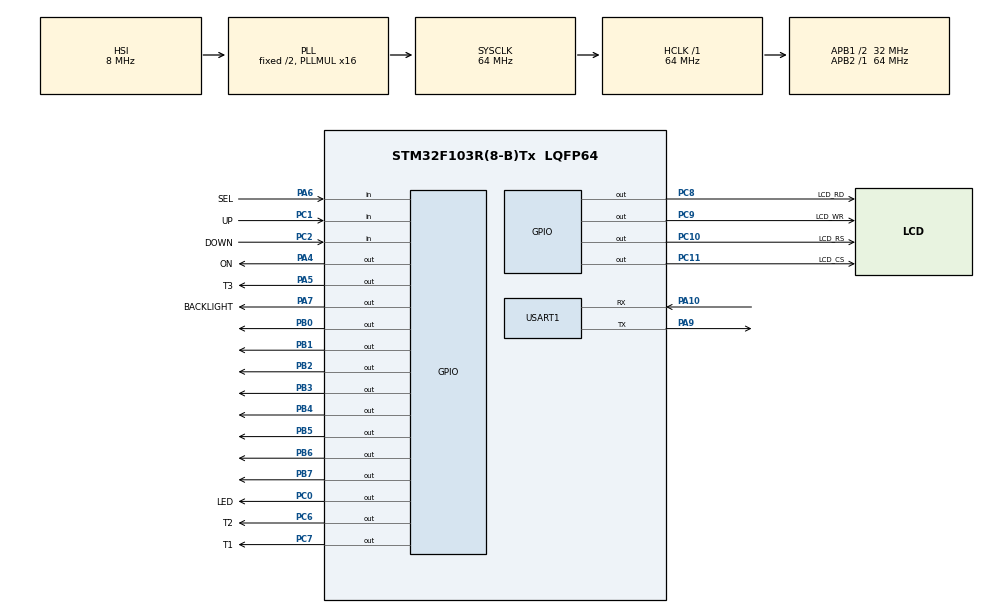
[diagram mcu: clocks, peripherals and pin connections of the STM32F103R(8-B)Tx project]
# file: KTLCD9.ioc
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Mcu.Family=STM32F1
Mcu.Name=STM32F103R(8-B)Tx
Mcu.Package=LQFP64
NVIC.PriorityGroup=NVIC_PRIORITYGROUP_4
PA10.Mode=Asynchronous
PA10.Signal=USART1_RX
PA13.Mode=Serial_Wire
PA13.Signal=SYS_JTMS-SWDIO
PA14.Mode=Serial_Wire
PA14.Signal=SYS_JTCK-SWCLK
PA4.GPIO_Label=ON
PA4.Signal=GPIO_Output
PA5.GPIO_Label=T3
PA5.Signal=GPIO_Output
PA6.GPIO_Label=SEL
PA6.Signal=GPIO_Input
PA7.GPIO_Label=BACKLIGHT
PA7.Signal=GPIO_Output
PA9.Mode=Asynchronous
PA9.Signal=USART1_TX
PB0.GPIO_Speed=GPIO_SPEED_FREQ_HIGH
PB0.Signal=GPIO_Output
PB1.GPIO_Speed=GPIO_SPEED_FREQ_HIGH
PB1.Signal=GPIO_Output
PB2.GPIO_Speed=GPIO_SPEED_FREQ_HIGH
PB2.Signal=GPIO_Output
PB3.GPIO_Speed=GPIO_SPEED_FREQ_HIGH
PB3.Signal=GPIO_Output
PB4.GPIO_Speed=GPIO_SPEED_FREQ_HIGH
PB4.Signal=GPIO_Output
PB5.GPIO_Speed=GPIO_SPEED_FREQ_HIGH
PB5.Signal=GPIO_Output
PB6.GPIO_Speed=GPIO_SPEED_FREQ_HIGH
PB6.Signal=GPIO_Output
PB7.GPIO_Speed=GPIO_SPEED_FREQ_HIGH
PB7.Signal=GPIO_Output
PC0.GPIO_Label=LED
PC0.Signal=GPIO_Output
PC1.GPIO_Label=UP
PC1.GPIO_PuPd=GPIO_NOPULL
PC1.Signal=GPIO_Input
PC10.GPIO_Label=LCD_RS
PC10.GPIO_Speed=GPIO_SPEED_FREQ_HIGH
PC10.Signal=GPIO_Output
PC11.GPIO_Label=LCD_CS
PC11.GPIO_Speed=GPIO_SPEED_FREQ_HIGH
PC11.Signal=GPIO_Output
PC2.GPIO_Label=DOWN
PC2.Signal=GPIO_Input
PC6.GPIO_Label=T2
PC6.Signal=GPIO_Output
PC7.GPIO_Label=T1
PC7.Signal=GPIO_Output
PC8.GPIO_Label=LCD_RD
PC8.GPIO_Speed=GPIO_SPEED_FREQ_HIGH
PC8.Signal=GPIO_Output
PC9.GPIO_Label=LCD_WR
PC9.GPIO_Speed=GPIO_SPEED_FREQ_HIGH
PC9.Signal=GPIO_Output
ProjectManager.HeapSize=0x200
ProjectManager.StackSize=0x400
ProjectManager.TargetToolchain=STM32CubeIDE
RCC.AHBFreq_Value=64000000
RCC.APB1CLKDivider=RCC_HCLK_DIV2
RCC.APB1Freq_Value=32000000
RCC.APB1TimFreq_Value=64000000
RCC.APB2Freq_Value=64000000
RCC.APB2TimFreq_Value=64000000
RCC.HCLKFreq_Value=64000000
RCC.PLLMUL=RCC_PLL_MUL16
RCC.SYSCLKFreq_VALUE=64000000
RCC.SYSCLKSource=RCC_SYSCLKSOURCE_PLLCLK
RCC.USBFreq_Value=64000000
TIM1.Period=0xffff-1
TIM1.Prescaler=64-1
USART1.VirtualMode=VM_ASYNC
VP_TIM1_VS_ClockSourceINT.Mode=Internal
board=custom

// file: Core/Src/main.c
/* USER CODE BEGIN Header */
/**
  ******************************************************************************
  * @file           : main.c
  * @brief          : Main program body
  ******************************************************************************
  * @attention
  *
  * Copyright (c) 2024 STMicroelectronics.
  * All rights reserved.
  *
  * This software is licensed under terms that can be found in the LICENSE file
  * in the root directory of this software component.
  * If no LICENSE file comes with this software, it is provided AS-IS.
  *
  ******************************************************************************
  */
/* USER CODE END Header */
#include "main.h"

/* USER CODE BEGIN Includes */
#include <string.h>
#include <../st7735/st7735.h>
#include "../st7735/fonts.h"
#include "../st7735/testimg.h"
#include <stdbool.h>
/* USER CODE END Includes */

/* USER CODE BEGIN PD */
// Definicje pinów
#define LCD_RS_PIN     GPIO_PIN_10  // RS -> PC10
#define LCD_WR_PIN     GPIO_PIN_9   // WR -> PC9
#define LCD_RD_PIN     GPIO_PIN_8   // RD -> PC8
#define LCD_CS_PIN     GPIO_PIN_11  // CS -> PC11
#define LCD_RST_PIN    GPIO_PIN_12  // RST -> PC12 (nowy pin)

#define LCD_DATA_PORT  GPIOB        // D0-D7 są podłączone do GPIOB

#define LCD_RS_PORT    GPIOC        // Port dla RS (PC10)
#define LCD_WR_PORT    GPIOC        // Port dla WR (PC9)
#define LCD_RD_PORT    GPIOC        // Port dla RD (PC8)
#define LCD_CS_PORT    GPIOC        // Port dla CS (PC11)
#define LCD_RST_PORT   GPIOC        // Nowy port dla RST (PC12)

int a=5;
int b=5;
bool state;
/* USER CODE END PD */

TIM_HandleTypeDef htim1;

UART_HandleTypeDef huart1;

void SystemClock_Config(void);
static void MX_GPIO_Init(void);
static void MX_TIM1_Init(void);
static void MX_USART1_UART_Init(void);

/* USER CODE BEGIN 0 */

void delay_us (uint16_t us)
{
	//__HAL_TIM_SET_COUNTER(&htim1,0);  // set the counter value a 0
	//while (__HAL_TIM_GET_COUNTER(&htim1) < us);  // wait for the counter to reach the us input in the parameter
}

/* USER CODE END 0 */

int main(void)
{

  /* MCU Configuration--------------------------------------------------------*/

  /* Reset of all peripherals, Initializes the Flash interface and the Systick. */
  HAL_Init();

  /* Configure the system clock */
  SystemClock_Config();

  /* Initialize all configured peripherals */
  MX_GPIO_Init();
  MX_TIM1_Init();
  MX_USART1_UART_Init();
  /* USER CODE BEGIN 2 */

  HAL_GPIO_WritePin(ON_GPIO_Port, ON_Pin, GPIO_PIN_SET); // zalaczenie zasilania
  HAL_TIM_Base_Start(&htim1); // timer start, for us delay in st7735

  HAL_GPIO_WritePin(T1_GPIO_Port, T1_Pin, GPIO_PIN_SET); // ???
  HAL_GPIO_WritePin(T2_GPIO_Port, T2_Pin, GPIO_PIN_SET); // ???

  HAL_GPIO_WritePin(BACKLIGHT_GPIO_Port, BACKLIGHT_Pin, GPIO_PIN_SET); // LCD Backlight
  HAL_GPIO_WritePin(LED_GPIO_Port, LED_Pin, GPIO_PIN_RESET); // LED DIODE
  ST7735_Init();

  HAL_Delay(55);

  ST7735_FillScreen(ST7735_BLUE);
  HAL_Delay(2000);
  ST7735_FillScreenFast(ST7735_GREEN);
  HAL_Delay(2000);

  //ST7735_DrawImage(0, 0, 128, 128, (uint16_t*)test_img_128x128);
  ST7735_FillScreenFast(ST7735_BLACK);
  //ST7735_WriteString(0, 0, "MAGENTA", Font_11x18, ST7735_MAGENTA, ST7735_BLACK);
  HAL_Delay(2500);
  state = false;

  /* USER CODE END 2 */

  /* Infinite loop */
  /* USER CODE BEGIN WHILE */
  while (1)
  {
	  if(state){
	  	ST7735_FillRectangleFast(10, 10, 40, 40, ST7735_BLUE);
	  	ST7735_FillRectangleFast(100, 0, 20, 20, ST7735_RED);
	  }
	  else{
		ST7735_FillRectangleFast(10, 10, 40, 40, ST7735_GREEN);
		ST7735_FillRectangleFast(100, 0, 20, 20, ST7735_MAGENTA);

	  }
	  state=!state;
	  ST7735_WriteString(70, 100, "MAGENTA", Font_11x18, ST7735_MAGENTA, ST7735_BLACK);
	  HAL_Delay(500);
    /* USER CODE END WHILE */

  }
}

void SystemClock_Config(void)
{
  RCC_OscInitTypeDef RCC_OscInitStruct = {0};
  RCC_ClkInitTypeDef RCC_ClkInitStruct = {0};

  /** Initializes the RCC Oscillators according to the specified parameters
  * in the RCC_OscInitTypeDef structure.
  */
  RCC_OscInitStruct.OscillatorType = RCC_OSCILLATORTYPE_HSI;
  RCC_OscInitStruct.HSIState = RCC_HSI_ON;
  RCC_OscInitStruct.HSICalibrationValue = RCC_HSICALIBRATION_DEFAULT;
  RCC_OscInitStruct.PLL.PLLState = RCC_PLL_ON;
  RCC_OscInitStruct.PLL.PLLSource = RCC_PLLSOURCE_HSI_DIV2;
  RCC_OscInitStruct.PLL.PLLMUL = RCC_PLL_MUL16;
  if (HAL_RCC_OscConfig(&RCC_OscInitStruct) != HAL_OK)
  {
    Error_Handler();
  }

  /** Initializes the CPU, AHB and APB buses clocks
  */
  RCC_ClkInitStruct.ClockType = RCC_CLOCKTYPE_HCLK|RCC_CLOCKTYPE_SYSCLK
                              |RCC_CLOCKTYPE_PCLK1|RCC_CLOCKTYPE_PCLK2;
  RCC_ClkInitStruct.SYSCLKSource = RCC_SYSCLKSOURCE_PLLCLK;
  RCC_ClkInitStruct.AHBCLKDivider = RCC_SYSCLK_DIV1;
  RCC_ClkInitStruct.APB1CLKDivider = RCC_HCLK_DIV2;
  RCC_ClkInitStruct.APB2CLKDivider = RCC_HCLK_DIV1;

  if (HAL_RCC_ClockConfig(&RCC_ClkInitStruct, FLASH_LATENCY_2) != HAL_OK)
  {
    Error_Handler();
  }
}

static void MX_TIM1_Init(void)
{

  TIM_ClockConfigTypeDef sClockSourceConfig = {0};
  TIM_MasterConfigTypeDef sMasterConfig = {0};

  htim1.Instance = TIM1;
  htim1.Init.Prescaler = 64-1;
  htim1.Init.CounterMode = TIM_COUNTERMODE_UP;
  htim1.Init.Period = 0xffff-1;
  htim1.Init.ClockDivision = TIM_CLOCKDIVISION_DIV1;
  htim1.Init.RepetitionCounter = 0;
  htim1.Init.AutoReloadPreload = TIM_AUTORELOAD_PRELOAD_DISABLE;
  if (HAL_TIM_Base_Init(&htim1) != HAL_OK)
  {
    Error_Handler();
  }
  sClockSourceConfig.ClockSource = TIM_CLOCKSOURCE_INTERNAL;
  if (HAL_TIM_ConfigClockSource(&htim1, &sClockSourceConfig) != HAL_OK)
  {
    Error_Handler();
  }
  sMasterConfig.MasterOutputTrigger = TIM_TRGO_RESET;
  sMasterConfig.MasterSlaveMode = TIM_MASTERSLAVEMODE_DISABLE;
  if (HAL_TIMEx_MasterConfigSynchronization(&htim1, &sMasterConfig) != HAL_OK)
  {
    Error_Handler();
  }

}

static void MX_USART1_UART_Init(void)
{

  huart1.Instance = USART1;
  huart1.Init.BaudRate = 115200;
  huart1.Init.WordLength = UART_WORDLENGTH_8B;
  huart1.Init.StopBits = UART_STOPBITS_1;
  huart1.Init.Parity = UART_PARITY_NONE;
  huart1.Init.Mode = UART_MODE_TX_RX;
  huart1.Init.HwFlowCtl = UART_HWCONTROL_NONE;
  huart1.Init.OverSampling = UART_OVERSAMPLING_16;
  if (HAL_UART_Init(&huart1) != HAL_OK)
  {
    Error_Handler();
  }

}

static void MX_GPIO_Init(void)
{
  GPIO_InitTypeDef GPIO_InitStruct = {0};

  /* GPIO Ports Clock Enable */
  __HAL_RCC_GPIOC_CLK_ENABLE();
  __HAL_RCC_GPIOA_CLK_ENABLE();
  __HAL_RCC_GPIOB_CLK_ENABLE();

  /*Configure GPIO pin Output Level */
  HAL_GPIO_WritePin(GPIOC, LED_Pin|T2_Pin|T1_Pin|LCD_RD_Pin
                          |LCD_WR_Pin|LCD_RS_Pin|LCD_CS_Pin, GPIO_PIN_RESET);

  /*Configure GPIO pin Output Level */
  HAL_GPIO_WritePin(GPIOA, ON_Pin|T3_Pin|BACKLIGHT_Pin, GPIO_PIN_RESET);

  /*Configure GPIO pin Output Level */
  HAL_GPIO_WritePin(GPIOB, GPIO_PIN_0|GPIO_PIN_1|GPIO_PIN_2|GPIO_PIN_3
                          |GPIO_PIN_4|GPIO_PIN_5|GPIO_PIN_6|GPIO_PIN_7, GPIO_PIN_RESET);

  /*Configure GPIO pins : LED_Pin T2_Pin T1_Pin */
  GPIO_InitStruct.Pin = LED_Pin|T2_Pin|T1_Pin;
  GPIO_InitStruct.Mode = GPIO_MODE_OUTPUT_PP;
  GPIO_InitStruct.Pull = GPIO_NOPULL;
  GPIO_InitStruct.Speed = GPIO_SPEED_FREQ_LOW;
  HAL_GPIO_Init(GPIOC, &GPIO_InitStruct);

  /*Configure GPIO pins : UP_Pin DOWN_Pin */
  GPIO_InitStruct.Pin = UP_Pin|DOWN_Pin;
  GPIO_InitStruct.Mode = GPIO_MODE_INPUT;
  GPIO_InitStruct.Pull = GPIO_NOPULL;
  HAL_GPIO_Init(GPIOC, &GPIO_InitStruct);

  /*Configure GPIO pins : ON_Pin T3_Pin BACKLIGHT_Pin */
  GPIO_InitStruct.Pin = ON_Pin|T3_Pin|BACKLIGHT_Pin;
  GPIO_InitStruct.Mode = GPIO_MODE_OUTPUT_PP;
  GPIO_InitStruct.Pull = GPIO_NOPULL;
  GPIO_InitStruct.Speed = GPIO_SPEED_FREQ_LOW;
  HAL_GPIO_Init(GPIOA, &GPIO_InitStruct);

  /*Configure GPIO pin : SEL_Pin */
  GPIO_InitStruct.Pin = SEL_Pin;
  GPIO_InitStruct.Mode = GPIO_MODE_INPUT;
  GPIO_InitStruct.Pull = GPIO_NOPULL;
  HAL_GPIO_Init(SEL_GPIO_Port, &GPIO_InitStruct);

  /*Configure GPIO pins : PB0 PB1 PB2 PB3
                           PB4 PB5 PB6 PB7 */
  GPIO_InitStruct.Pin = GPIO_PIN_0|GPIO_PIN_1|GPIO_PIN_2|GPIO_PIN_3
                          |GPIO_PIN_4|GPIO_PIN_5|GPIO_PIN_6|GPIO_PIN_7;
  GPIO_InitStruct.Mode = GPIO_MODE_OUTPUT_PP;
  GPIO_InitStruct.Pull = GPIO_NOPULL;
  GPIO_InitStruct.Speed = GPIO_SPEED_FREQ_HIGH;
  HAL_GPIO_Init(GPIOB, &GPIO_InitStruct);

  /*Configure GPIO pins : LCD_RD_Pin LCD_WR_Pin LCD_RS_Pin LCD_CS_Pin */
  GPIO_InitStruct.Pin = LCD_RD_Pin|LCD_WR_Pin|LCD_RS_Pin|LCD_CS_Pin;
  GPIO_InitStruct.Mode = GPIO_MODE_OUTPUT_PP;
  GPIO_InitStruct.Pull = GPIO_NOPULL;
  GPIO_InitStruct.Speed = GPIO_SPEED_FREQ_HIGH;
  HAL_GPIO_Init(GPIOC, &GPIO_InitStruct);

}

void Error_Handler(void)
{
  __disable_irq();
  while (1)
  {
  }
}
